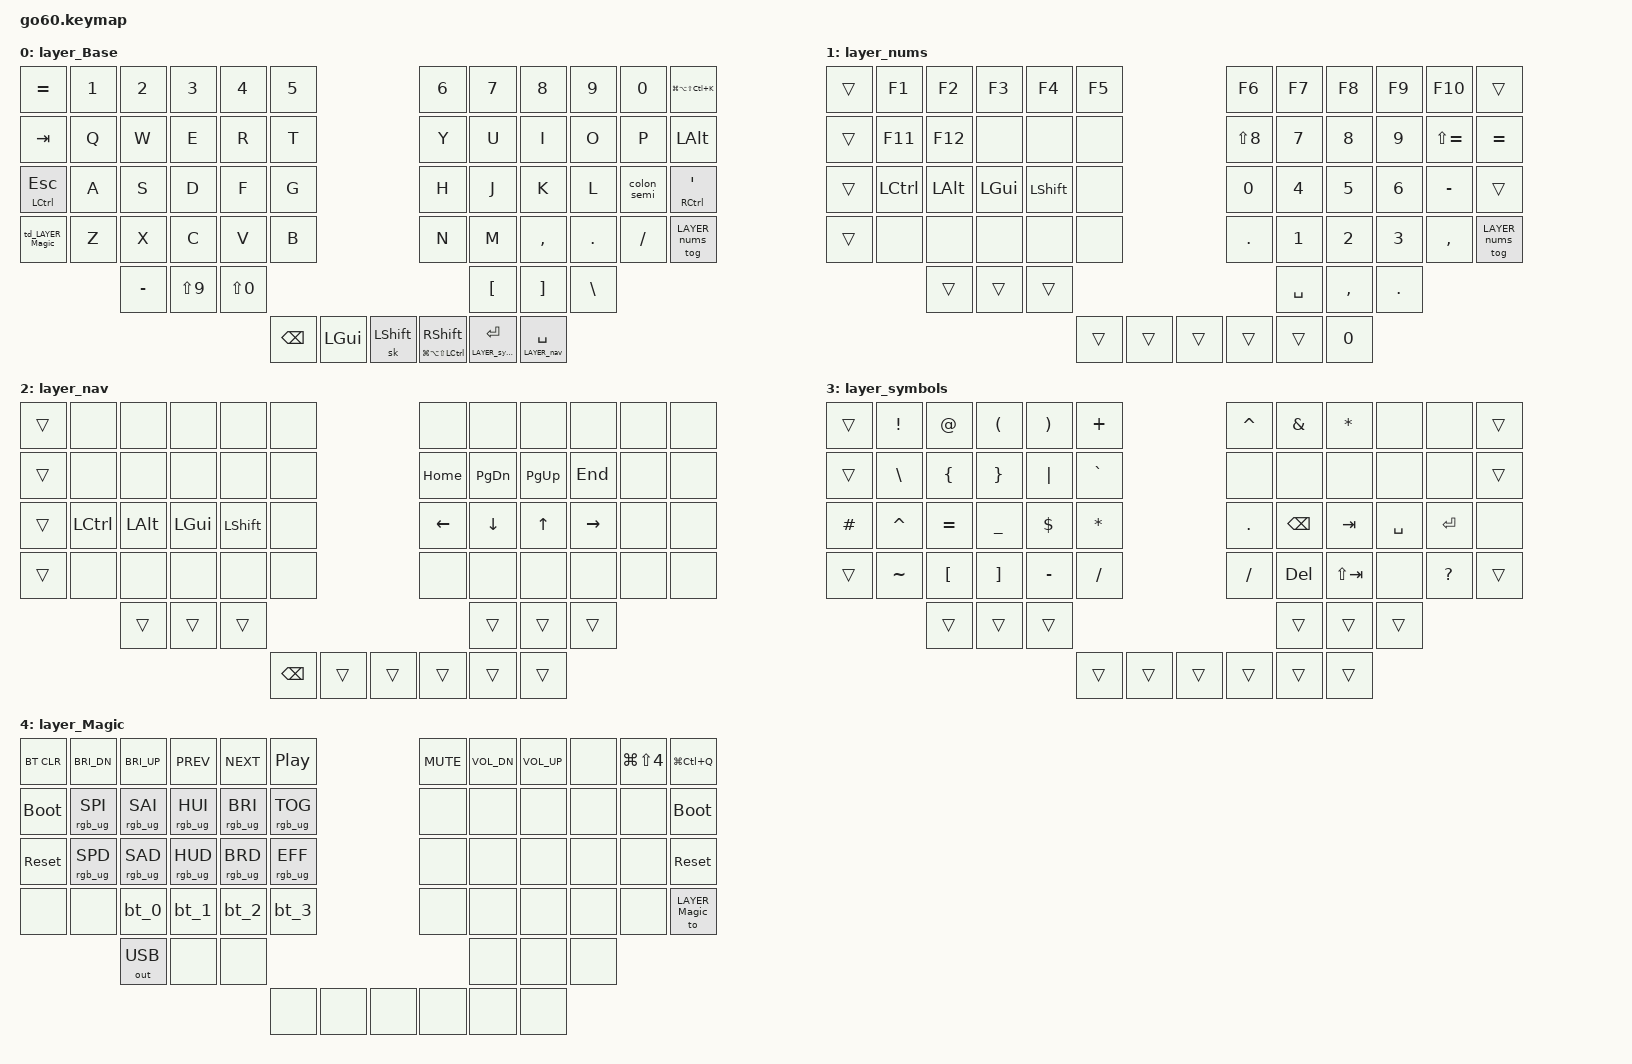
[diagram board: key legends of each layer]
/*
 * Copyright (c) 2020 The ZMK Contributors
 * Copyright (c) 2025 Innaworks Development Limited, trading as MoErgo
 *
 * SPDX-License-Identifier: MIT
 */

#include <behaviors.dtsi>

#include <dt-bindings/zmk/outputs.h>
#include <dt-bindings/zmk/keys.h>
#include <dt-bindings/zmk/bt.h>
#include <dt-bindings/zmk/rgb.h>

#include <input/processors.dtsi>
#include <dt-bindings/zmk/input_transform.h>
#include <zephyr/dt-bindings/input/input-event-codes.h>

#include <dt-bindings/zmk/input_transform.h>
#include <dt-bindings/zmk/pointing.h>
#include <input/processors.dtsi>

#pragma once

#define ZMK_HELPER_STRINGIFY(x) #x

#define VARGS_(_10, _9, _8, _7, _6, _5, _4, _3, _2, _1, N, ...) N
#define VARGS(...) VARGS_(__VA_ARGS__, 10, 9, 8, 7, 6, 5, 4, 3, 2, 1, 0)
#define CONCAT_(a, b) a##b
#define CONCAT(a, b) CONCAT_(a, b)

#define ZMK_BEHAVIOR_CORE_tap_dance  \
    compatible = "zmk,behavior-tap-dance"; \
    #binding-cells = <0>

#define ZMK_BEHAVIOR(name, type, ...) \
    name: name { \
        ZMK_BEHAVIOR_CORE_ ## type; \
        __VA_ARGS__ \
    };

#define ZMK_TAP_DANCE(name, ...) \
    ZMK_BEHAVIOR(name, tap_dance, __VA_ARGS__)

#define ZMK_TD_LAYER(name, layer) \
    ZMK_TAP_DANCE(name, \
        tapping-term-ms = <200>; \
        bindings = <&mo layer>, <&to layer>; \
)

/* Key positions */

#define POS_LH_C6R1 0
#define POS_LH_C5R1 1
#define POS_LH_C4R1 2
#define POS_LH_C3R1 3
#define POS_LH_C2R1 4
#define POS_LH_C1R1 5
#define POS_RH_C1R1 6
#define POS_RH_C2R1 7
#define POS_RH_C3R1 8
#define POS_RH_C4R1 9
#define POS_RH_C5R1 10
#define POS_RH_C6R1 11
#define POS_LH_C6R2 12
#define POS_LH_C5R2 13
#define POS_LH_C4R2 14
#define POS_LH_C3R2 15
#define POS_LH_C2R2 16
#define POS_LH_C1R2 17
#define POS_RH_C1R2 18
#define POS_RH_C2R2 19
#define POS_RH_C3R2 20
#define POS_RH_C4R2 21
#define POS_RH_C5R2 22
#define POS_RH_C6R2 23
#define POS_LH_C6R3 24
#define POS_LH_C5R3 25
#define POS_LH_C4R3 26
#define POS_LH_C3R3 27
#define POS_LH_C2R3 28
#define POS_LH_C1R3 29
#define POS_RH_C1R3 30
#define POS_RH_C2R3 31
#define POS_RH_C3R3 32
#define POS_RH_C4R3 33
#define POS_RH_C5R3 34
#define POS_RH_C6R3 35
#define POS_LH_C6R4 36
#define POS_LH_C5R4 37
#define POS_LH_C4R4 38
#define POS_LH_C3R4 39
#define POS_LH_C2R4 40
#define POS_LH_C1R4 41
#define POS_RH_C1R4 42
#define POS_RH_C2R4 43
#define POS_RH_C3R4 44
#define POS_RH_C4R4 45
#define POS_RH_C5R4 46
#define POS_RH_C6R4 47
#define POS_LH_C4R5 48
#define POS_LH_C3R5 49
#define POS_LH_C2R5 50
#define POS_RH_C2R5 51
#define POS_RH_C3R5 52
#define POS_RH_C4R5 53
#define POS_LH_T1 54
#define POS_LH_T2 55
#define POS_LH_T3 56
#define POS_RH_T3 57
#define POS_RH_T2 58
#define POS_RH_T1 59

#define LEFT_HAND_KEYS \
  POS_LH_C1R1 POS_LH_C2R1 POS_LH_C3R1 POS_LH_C4R1 POS_LH_C5R1 POS_LH_C6R1 \
  POS_LH_C1R2 POS_LH_C2R2 POS_LH_C3R2 POS_LH_C4R2 POS_LH_C5R2 POS_LH_C6R2 \
  POS_LH_C1R3 POS_LH_C2R3 POS_LH_C3R3 POS_LH_C4R3 POS_LH_C5R3 POS_LH_C6R3 \
  POS_LH_C1R4 POS_LH_C2R4 POS_LH_C3R4 POS_LH_C4R4 POS_LH_C5R4 POS_LH_C6R4 \
              POS_LH_C2R5 POS_LH_C3R5 POS_LH_C4R5

#define RIGHT_HAND_KEYS \
  POS_RH_C1R1 POS_RH_C2R1 POS_RH_C3R1 POS_RH_C4R1 POS_RH_C5R1 POS_RH_C6R1 \
  POS_RH_C1R2 POS_RH_C2R2 POS_RH_C3R2 POS_RH_C4R2 POS_RH_C5R2 POS_RH_C6R2 \
  POS_RH_C1R3 POS_RH_C2R3 POS_RH_C3R3 POS_RH_C4R3 POS_RH_C5R3 POS_RH_C6R3 \
  POS_RH_C1R4 POS_RH_C2R4 POS_RH_C3R4 POS_RH_C4R4 POS_RH_C5R4 POS_RH_C6R4 \
              POS_RH_C2R5 POS_RH_C3R5 POS_RH_C4R5

#define THUMB_KEYS \
  POS_LH_T1 POS_LH_T2 POS_LH_T3 \
  POS_RH_T1 POS_RH_T2 POS_RH_T3

#define KB_TYPE_GLOVE_80 1
#define KB_TYPE_GO_60    2
#define KB_TYPE          KB_TYPE_GO_60
#define EDITOR_HOST_OS   'M'

#define LAYER_Base 0
#define LAYER_nums 1
#define LAYER_nav 2
#define LAYER_symbols 3
#define LAYER_Magic 4

#ifndef LAYER_Lower
#define LAYER_Lower 0
#endif

/* Generated input processors */
/ {
    input_processors {
        zip_click_to_right_click_mapper: zip_click_to_right_click_mapper {
            compatible = "zmk,input-processor-code-mapper";
            #input-processor-cells = <0>;
            type = <INPUT_EV_KEY>;
            map = <INPUT_BTN_0 INPUT_BTN_1>;
        };
    };
};

/* Custom Device-tree */
&mt {
    tapping-term-ms = <180>;
    flavor = "tap-preferred";
    retro-tap;
};

&sk {
    release-after-ms = <2000>;
    quick-release;
};

/* Input Listeners */
&cirque_lh_listener {
    input-processors = <&zip_xy_scaler 1 15>, <&zip_xy_transform INPUT_TRANSFORM_Y_INVERT>, <&zip_xy_to_scroll_mapper>;
};

&cirque_rh_listener {
    input-processors = <&zip_xy_scaler 6 2>;
};

/* System behavior and macros */
/ {
    behaviors {
        ZMK_TD_LAYER(lower, LAYER_Lower)
    };
};

/ {
    macros {
        rgb_ug_status_macro: rgb_ug_status_macro {
            label = "RGB_UG_STATUS";
            compatible = "zmk,behavior-macro";
            #binding-cells = <0>;
            bindings
                = <&rgb_ug RGB_STATUS>;
        };

        /* Code digraph macros — fired by combos below */
        m_fat_arrow:  m_fat_arrow  { compatible = "zmk,behavior-macro"; #binding-cells = <0>; bindings = <&kp EQUAL &kp GT>; };
        m_thin_arrow: m_thin_arrow { compatible = "zmk,behavior-macro"; #binding-cells = <0>; bindings = <&kp MINUS &kp GT>; };
        m_dbl_colon:  m_dbl_colon  { compatible = "zmk,behavior-macro"; #binding-cells = <0>; bindings = <&kp COLON &kp COLON>; };
        m_neq:        m_neq        { compatible = "zmk,behavior-macro"; #binding-cells = <0>; bindings = <&kp EXCL  &kp EQUAL>; };
        m_eqeq:       m_eqeq       { compatible = "zmk,behavior-macro"; #binding-cells = <0>; bindings = <&kp EQUAL &kp EQUAL>; };
        m_and_and:    m_and_and    { compatible = "zmk,behavior-macro"; #binding-cells = <0>; bindings = <&kp AMPS  &kp AMPS>; };
        m_or_or:      m_or_or      { compatible = "zmk,behavior-macro"; #binding-cells = <0>; bindings = <&kp PIPE  &kp PIPE>; };
    };
};

/ {
    combos {
        compatible = "zmk,combos";
        /* Vertical combos on the base layer — least likely to misfire during normal typing */
        combo_fat_arrow  { timeout-ms = <30>; key-positions = <31 43>; bindings = <&m_fat_arrow>;  layers = <0>; }; /* J + M  -> => */
        combo_thin_arrow { timeout-ms = <30>; key-positions = <32 44>; bindings = <&m_thin_arrow>; layers = <0>; }; /* K + ,  -> -> */
        combo_dbl_colon  { timeout-ms = <30>; key-positions = <27 39>; bindings = <&m_dbl_colon>;  layers = <0>; }; /* D + C  -> :: */
        combo_neq        { timeout-ms = <30>; key-positions = <26 38>; bindings = <&m_neq>;        layers = <0>; }; /* S + X  -> != */
        combo_eqeq       { timeout-ms = <30>; key-positions = <25 37>; bindings = <&m_eqeq>;       layers = <0>; }; /* A + Z  -> == */
        combo_and_and    { timeout-ms = <30>; key-positions = <28 40>; bindings = <&m_and_and>;    layers = <0>; }; /* F + V  -> && */
        combo_or_or      { timeout-ms = <30>; key-positions = <29 41>; bindings = <&m_or_or>;      layers = <0>; }; /* G + B  -> || */
    };
};

/ {
#ifdef BT_DISC_CMD
    behaviors {
        bt_0: bt_0 {
            compatible = "zmk,behavior-tap-dance";
            label = "BT_0";
            #binding-cells = <0>;
            tapping-term-ms = <200>;
            bindings = <&bt_select_0>, <&bt BT_DISC 0>;
        };
        bt_1: bt_1 {
            compatible = "zmk,behavior-tap-dance";
            label = "BT_1";
            #binding-cells = <0>;
            tapping-term-ms = <200>;
            bindings = <&bt_select_1>, <&bt BT_DISC 1>;
        };
        bt_2: bt_2 {
            compatible = "zmk,behavior-tap-dance";
            label = "BT_2";
            #binding-cells = <0>;
            tapping-term-ms = <200>;
            bindings = <&bt_select_2>, <&bt BT_DISC 2>;
        };
        bt_3: bt_3 {
            compatible = "zmk,behavior-tap-dance";
            label = "BT_3";
            #binding-cells = <0>;
            tapping-term-ms = <200>;
            bindings = <&bt_select_3>, <&bt BT_DISC 3>;
        };
    };
    macros {
        bt_select_0: bt_select_0 {
            label = "BT_SELECT_0";
            compatible = "zmk,behavior-macro";
            #binding-cells = <0>;
            bindings
                = <&out OUT_BLE>,
                  <&bt BT_SEL 0>;
        };
        bt_select_1: bt_select_1 {
            label = "BT_SELECT_1";
            compatible = "zmk,behavior-macro";
            #binding-cells = <0>;
            bindings
                = <&out OUT_BLE>,
                  <&bt BT_SEL 1>;
        };
        bt_select_2: bt_select_2 {
            label = "BT_SELECT_2";
            compatible = "zmk,behavior-macro";
            #binding-cells = <0>;
            bindings
                = <&out OUT_BLE>,
                  <&bt BT_SEL 2>;
        };
        bt_select_3: bt_select_3 {
            label = "BT_SELECT_3";
            compatible = "zmk,behavior-macro";
            #binding-cells = <0>;
            bindings
                = <&out OUT_BLE>,
                  <&bt BT_SEL 3>;
        };
    };
#else
    macros {
        bt_0: bt_0 {
            label = "BT_0";
            compatible = "zmk,behavior-macro";
            #binding-cells = <0>;
            bindings
                = <&out OUT_BLE>,
                  <&bt BT_SEL 0>;
        };
        bt_1: bt_1 {
            label = "BT_1";
            compatible = "zmk,behavior-macro";
            #binding-cells = <0>;
            bindings
                = <&out OUT_BLE>,
                  <&bt BT_SEL 1>;
        };
        bt_2: bt_2 {
            label = "BT_2";
            compatible = "zmk,behavior-macro";
            #binding-cells = <0>;
            bindings
                = <&out OUT_BLE>,
                  <&bt BT_SEL 2>;
        };
        bt_3: bt_3 {
            label = "BT_3";
            compatible = "zmk,behavior-macro";
            #binding-cells = <0>;
            bindings
                = <&out OUT_BLE>,
                  <&bt BT_SEL 3>;
        };
    };
#endif
};

/ {
    behaviors {
        magic: magic {
            compatible = "zmk,behavior-hold-tap";
            label = "MAGIC_HOLD_TAP";
            #binding-cells = <2>;
            flavor = "tap-preferred";
            tapping-term-ms = <200>;
            bindings = <&mo>, <&rgb_ug_status_macro>;
        };

        /* Hold = mod (e.g. Hyper), tap = sticky key (e.g. one-shot Shift) */
        hyper_sk: hyper_sk {
            compatible = "zmk,behavior-hold-tap";
            label = "HYPER_STICKY";
            #binding-cells = <2>;
            flavor = "tap-preferred";
            tapping-term-ms = <200>;
            bindings = <&kp>, <&sk>;
        };
    };
};

/* Custom Defined Behaviors */
/ {
#define HYP(key) LS(LC(LA(LG(key))))
#define HYPER    LS(LC(LA(LGUI)))
#define MACLOCK  LG(LC(Q))
#define BROWSER_NEWTAB LG(T)
#define BROWSER_CLOSETAB LG(W)
#define BROWSER_NEXTTAB LG(LA(RIGHT))
#define BROWSER_PREVTAB LG(LA(LEFT))
};

/ {
    macros {

    };
};

/ {
    behaviors {

        ZMK_TD_LAYER(td_LAYER_Magic, 4)

        colon_semi: colon_semi {
            compatible = "zmk,behavior-mod-morph";
            label = "COLON_SEMI";
            #binding-cells = <0>;
            bindings = <&kp LS(SEMI)>, <&kp SEMI>;
            mods = <(MOD_LSFT|MOD_RSFT)>;
        };

    };
};

/* Automatically generated keymap */
/ {
    keymap {
        compatible = "zmk,keymap";


        layer_Base {
            bindings = <
 /*
  * ┌───────┬──────┬──────┬──────┬──────┬──────┐                              ┌──────┬──────┬──────┬──────┬──────┬──────────┐
  * │  = +  │  1 ! │  2 @ │  3 # │  4 $ │  5 % │                              │  6 ^ │  7 & │  8 * │  9 ( │  0 ) │ Hyp+K    │
  * ├───────┼──────┼──────┼──────┼──────┼──────┤                              ├──────┼──────┼──────┼──────┼──────┼──────────┤
  * │  Tab  │  Q   │  W   │  E   │  R   │  T   │                              │  Y   │  U   │  I   │  O   │  P   │  Alt     │
  * ├───────┼──────┼──────┼──────┼──────┼──────┤                              ├──────┼──────┼──────┼──────┼──────┼──────────┤
  * │Ct/Esc │  A   │  S   │  D   │  F   │  G   │                              │  H   │  J   │  K   │  L   │ : ;  │ Ct/'     │
  * ├───────┼──────┼──────┼──────┼──────┼──────┤                              ├──────┼──────┼──────┼──────┼──────┼──────────┤
  * │ Magic │  Z   │  X   │  C   │  V   │  B   │                              │  N   │  M   │  , < │  . > │  / ? │ Num tog  │
  * └───────┴──────┼──────┼──────┼──────┘──────┘                              └──────┴──────┼──────┼──────┼──────┴──────────┘
  *                │ - _  │  (   │  )   │                                             │  [   │  ]   │  \|  │
  *                └──────┴──────┴──────┘                                             └──────┴──────┴──────┘
  *
  *                              ┌──────┬──────┬────────┐  ┌──────┬───────────┬──────────┐
  *                              │ Bksp │ Cmd  │Sk Shft │  │ Sym  │ Sym/Enter │ Nav/Spc  │
  *                              └──────┴──────┴────────┘  └──────┴───────────┴──────────┘
  */
       &kp EQUAL  &kp N1     &kp N2      &kp N3      &kp N4  &kp N5                                                                                                               &kp N6        &kp N7        &kp N8    &kp N9    &kp N0  &kp LG(LA(LS(LC(K))))
         &kp TAB   &kp Q      &kp W       &kp E       &kp R   &kp T                                                                                                                &kp Y         &kp U         &kp I     &kp O     &kp P              &kp LALT
   &mt LCTRL ESC   &kp A      &kp S       &kp D       &kp F   &kp G                                                                                                                &kp H         &kp J         &kp K     &kp L  &colon_semi       &mt RCTRL SQT
 &td_LAYER_Magic   &kp Z      &kp X       &kp C       &kp V   &kp B                                                                                                                &kp N         &kp M     &kp COMMA   &kp DOT  &kp FSLH        &tog LAYER_nums
                          &kp MINUS   &kp LS(N9)  &kp LS(N0)                                                                                                                                &kp LBKT      &kp RBKT    &kp BSLH
                                                                      &kp BSPC  &kp LGUI  &sk LSHFT  &hyper_sk LG(LA(LS(LCTRL))) RSHIFT  &lt LAYER_symbols RET  &lt LAYER_nav SPACE
            >;
        };

        layer_nums {
            bindings = <
 /*
  * NUMS — toggle via RH pinky R4
  *
  * Left: F1-F12, homerow mods
  * Right: numpad with operators
  */
  &trans     &kp F1    &kp F2    &kp F3     &kp F4  &kp F5                                                          &kp F6     &kp F7      &kp F8      &kp F9        &kp F10  &trans
 &trans    &kp F11   &kp F12     &none      &none   &none                                                     &kp LS(N8)     &kp N7      &kp N8      &kp N9  &kp LS(EQUAL)  &kp EQUAL
 &trans  &kp LCTRL  &kp LALT  &kp LGUI  &kp LSHFT   &none                                                         &kp N0     &kp N4      &kp N5      &kp N6      &kp MINUS  &trans
 &trans      &none     &none     &none      &none   &none                                                       &kp DOT     &kp N1      &kp N2      &kp N3      &kp COMMA  &tog LAYER_nums
                       &trans    &trans     &trans                                                                        &kp SPACE   &kp COMMA     &kp DOT
                                                           &trans  &trans  &trans  &trans  &trans  &kp N0
            >;
        };

        layer_nav {
            bindings = <
 /*
  * NAV — hold Space to activate
  *
  * ┌──────┬──────┬──────┬──────┬──────┬──────┐    ┌──────┬──────┬──────┬──────┬──────┬──────┐
  * │      │      │      │      │      │      │    │      │      │      │      │      │      │
  * ├──────┼──────┼──────┼──────┼──────┼──────┤    ├──────┼──────┼──────┼──────┼──────┼──────┤
  * │      │      │      │      │      │      │    │ Home │ PgDn │ PgUp │ End  │      │      │
  * ├──────┼──────┼──────┼──────┼──────┼──────┤    ├──────┼──────┼──────┼──────┼──────┼──────┤
  * │      │ Ctrl │ Alt  │ Cmd  │ Shft │      │    │ Left │ Down │  Up  │Right │      │      │
  * ├──────┼──────┼──────┼──────┼──────┼──────┤    ├──────┼──────┼──────┼──────┼──────┼──────┤
  * │      │      │      │      │      │      │    │      │      │      │      │      │      │
  * └──────┴──────┴──────┴──────┴──────┴──────┘    └──────┴──────┴──────┴──────┴──────┴──────┘
  */
 &trans  &none      &none     &none      &none  &none                                                    &none      &none      &none    &none  &none  &none
 &trans  &none      &none     &none      &none  &none                                                 &kp HOME  &kp PG_DN  &kp PG_UP  &kp END  &none  &none
 &trans  &kp LCTRL  &kp LALT  &kp LGUI  &kp LSHFT  &none                                             &kp LEFT   &kp DOWN     &kp UP  &kp RIGHT  &none  &none
 &trans  &none      &none     &none      &none  &none                                                    &none      &none      &none    &none  &none  &none
                    &trans    &trans     &trans                                                                      &trans     &trans   &trans
                                                        &kp BSPC  &trans  &trans  &trans  &trans  &trans
            >;
        };

        layer_symbols {
            bindings = <
 /*
  * SYMBOLS — hold Enter (RH_T2) to activate.
  *
  * Left hand = symbols (Glove80 homerow: # ^ = _ $ *).
  * Right hand = editing cluster (bksp/del/tab on homerow).
  *
  * ┌──────┬──────┬──────┬──────┬──────┬──────┐    ┌──────┬──────┬──────┬──────┬──────┬──────┐
  * │      │  !   │  @   │  (   │  )   │  +   │    │  ^   │  &   │  *   │      │      │      │
  * ├──────┼──────┼──────┼──────┼──────┼──────┤    ├──────┼──────┼──────┼──────┼──────┼──────┤
  * │      │  \   │  {   │  }   │  |   │  `   │    │      │      │      │      │      │      │
  * ├──────┼──────┼──────┼──────┼──────┼──────┤    ├──────┼──────┼──────┼──────┼──────┼──────┤
  * │  #   │  ^   │  =   │  _   │  $   │  *   │    │  .   │ Bksp │ Tab  │ Spc  │ Ret  │      │
  * ├──────┼──────┼──────┼──────┼──────┼──────┤    ├──────┼──────┼──────┼──────┼──────┼──────┤
  * │      │  ~   │  [   │  ]   │  -   │  /   │    │  /   │ Del  │ STab │      │  ?   │      │
  * └──────┴──────┴──────┴──────┴──────┴──────┘    └──────┴──────┴──────┴──────┴──────┴──────┘
  */
 &trans      &kp EXCL   &kp AT     &kp LPAR   &kp RPAR    &kp PLUS                                                                               &kp CARET  &kp AMPS    &kp STAR    &none       &none      &trans
 &trans      &kp BSLH   &kp LBRC   &kp RBRC   &kp PIPE    &kp GRAVE                                                                              &none      &none       &none       &none       &none      &trans
 &kp HASH    &kp CARET  &kp EQUAL  &kp UNDER  &kp DLLR    &kp STAR                                                                               &kp DOT    &kp BSPC    &kp TAB    &kp SPACE   &kp RET    &none
 &trans      &kp TILDE  &kp LBKT   &kp RBKT   &kp MINUS   &kp FSLH                                                                               &kp FSLH   &kp DEL     &kp LS(TAB) &none      &kp QMARK  &trans
                            &trans     &trans     &trans                                                                                                        &trans      &trans      &trans
                                                                          &trans  &trans  &trans  &trans  &trans  &trans
            >;
        };

        layer_Magic {
            bindings = <
  &bt BT_CLR     &kp C_BRI_DN     &kp C_BRI_UP       &kp C_PREV       &kp C_NEXT         &kp C_PP                                                  &kp C_MUTE  &kp C_VOL_DN  &kp C_VOL_UP   &none   &kp LG(LS(N4))   &kp LG(LC(Q))
 &bootloader  &rgb_ug RGB_SPI  &rgb_ug RGB_SAI  &rgb_ug RGB_HUI  &rgb_ug RGB_BRI  &rgb_ug RGB_TOG                                                       &none         &none         &none   &none   &none      &bootloader
  &sys_reset  &rgb_ug RGB_SPD  &rgb_ug RGB_SAD  &rgb_ug RGB_HUD  &rgb_ug RGB_BRD  &rgb_ug RGB_EFF                                                       &none         &none         &none   &none   &none       &sys_reset
       &none            &none            &bt_0            &bt_1            &bt_2            &bt_3                                                       &none         &none         &none   &none   &none  &to LAYER_Magic
                                  &out OUT_USB            &none            &none                                                                                      &none         &none   &none
                                                                                                    &none   &none   &none   &none   &none   &none
            >;
        };

    };
};

